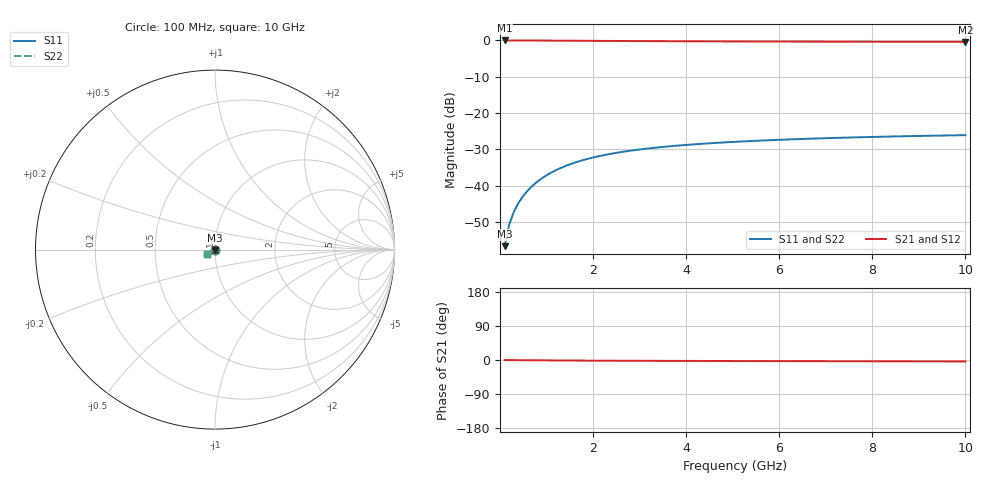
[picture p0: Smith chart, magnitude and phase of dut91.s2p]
! Touchstone file exported from HFSS 2024.1.0
!  File:  C:/UserFiles/LocalFiles/RDL_TSV_Batchsim/temp_TSV1_91_1778751787.aedt
!  Generated:  05:47:12 PM May 14, 2026
!  Design:  TSV1
!  Project:  temp_TSV1_91_1778751787
!  Setup:  Setup1
!  Solution:  Sweep
! Variables:
!  dtsv = 17.36um
!  hbump = 3um
!  htsv = 50.97um
!  lrdl = 252.1521522um
!  p = 40
!  p1 = 50.05um
!  t = 500um
!  trdl = 3um
!  wrdl = 24.89489489um
# GHz S MA R 50.000000
! Terminal data exported
! Port[1] = TSV22_T1
! Port[2] = TSV22_T2
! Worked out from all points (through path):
!   100 points, 100 MHz to 10 GHz, reference 50 ohm
!   highest |S21| = 0.00 dB at 100 MHz (marker M1); lowest = -0.4 dB at 10 GHz (marker M2)
!   lowest |S11| = -56.7 dB at 100 MHz (marker M3), VSWR 1.00, Z = 50 - j0.146 ohm
!   |S11| at or under -10 dB: start of sweep to end of sweep
!   |S22| runs from -56.7 to -26.1 dB; largest |S21 - S12| = 3.1e-15
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0.1  0.001462 -89.3  0.9999 -0.1  0.9999 -0.1  0.001462 -89.3
! Gamma 0 0 0 0
! Port Impedance 50 0 50 0
0.2  0.002917 -92.3  0.9997 -0.2  0.9997 -0.2  0.002917 -92.3
0.3  0.004362 -94.5  0.9995 -0.3  0.9995 -0.3  0.004362 -94.5
0.4  0.005793 -96.5  0.9992 -0.4  0.9992 -0.4  0.005793 -96.5
0.5  0.007206 -98.3  0.9988 -0.5  0.9988 -0.5  0.007206 -98.3
0.6  0.008595 -100.1  0.9983 -0.6  0.9983 -0.6  0.008595 -100.1
0.7  0.009957 -101.8  0.9977 -0.7  0.9977 -0.7  0.009957 -101.8
0.8  0.01129 -103.5  0.9971 -0.8  0.9971 -0.8  0.01129 -103.5
0.9  0.01259 -105.1  0.9965 -0.9  0.9965 -0.9  0.01259 -105.1
1.1  0.01508 -108.3  0.995 -1.1  0.995 -1.1  0.01508 -108.3
1.4  0.01852 -112.6  0.9926 -1.3  0.9926 -1.3  0.01852 -112.6
1.6  0.02062 -115.2  0.9909 -1.5  0.9909 -1.5  0.02062 -115.2
1.8  0.02256 -117.7  0.9892 -1.6  0.9892 -1.6  0.02256 -117.7
2.1  0.02519 -121.1  0.9868 -1.8  0.9868 -1.8  0.02519 -121.1
2.5  0.02824 -125.0  0.9837 -1.9  0.9837 -1.9  0.02824 -125.0
2.9  0.03084 -128.3  0.9808 -2.1  0.9808 -2.1  0.03084 -128.3
3.4  0.03358 -131.9  0.9776 -2.3  0.9776 -2.3  0.03358 -131.9
4.2  0.03712 -136.3  0.9731 -2.5  0.9731 -2.5  0.03712 -136.3
5.1  0.04023 -140.2  0.969 -2.7  0.969 -2.7  0.04023 -140.2
6.7  0.04434 -145.2  0.9635 -3.1  0.9635 -3.1  0.04434 -145.2
8.4  0.04743 -149.0  0.9593 -3.5  0.9593 -3.5  0.04743 -149.0
10  0.04953 -151.6  0.9564 -3.8  0.9564 -3.8  0.04953 -151.6
